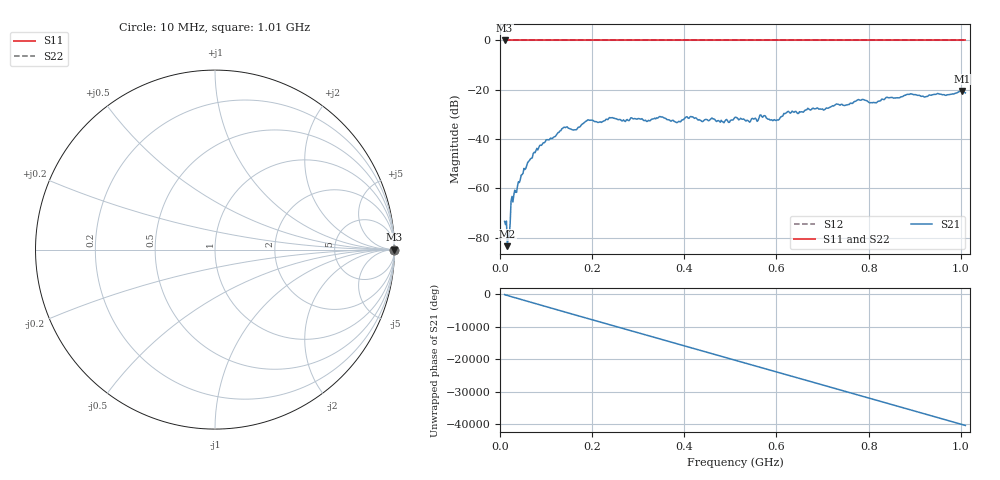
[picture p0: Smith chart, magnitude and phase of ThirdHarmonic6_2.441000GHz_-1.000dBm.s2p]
! 8/17/2025 4:17:53 AM
! C:\ANRITSUVNA\TEMP\TEMP.S2P
! CHANNEL.1
! TR.MEASUREMENT
! RAW.DATA
! RF.CORRECTION.OFF
! AVERAGING.OFF
! IF.BANDWIDTH: 5KHZ
! SWEEPTYPE:  FREQ.SWEEP(Linear)
! Reference Plane Port Info
! PORT:  PORT1  PORT2
! DISTANCE:  0  m  0  m
! TIME:  0  s  0  s
! PHASE.OFFSET:  0  deg.  0  deg.
! LOSS:  0  dB  0  dB
! REF.LOSS:  0  dB  0  dB
! REF.FREQ:  0  Hz  0  Hz
! Power Info
! POWER:  -20  dBm  -20  dBm
! EFF.POWER:  -20  dBm  -20  dBm
! SOURCE.ATTEN:  0  dB  0  dB
! TEST.ATTEN:  0  dB  0  dB
# GHZ S RI R 50.0
! FREQ.GHZ  S11RE  S11IM  S21RE  S21IM  S12RE  S12IM  S22RE  S22IM
!; PortSelection: Port_12
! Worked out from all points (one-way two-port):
!   501 points, 10 MHz to 1.01 GHz, reference 50 ohm
!   highest |S21| = -20.51 dB at 1.002 GHz (marker M1); lowest = -83.5 dB at 16 MHz (marker M2)
!   lowest |S11| = 0.0 dB at 10 MHz (marker M3)
!   |S11| at or under -10 dB: nowhere
!   |S22| runs from 0.0 to 0.0 dB; largest |S21 - S12| = 1.1
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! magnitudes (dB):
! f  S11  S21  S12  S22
! 10 MHz  0.0  -73.4  0.0  0.0
! 16 MHz  0.0  -83.5  0.0  0.0
! 20 MHz  0.0  -79.6  0.0  0.0
! 28 MHz  0.0  -65.6  0.0  0.0
! 50 MHz  0.0  -53.9  0.0  0.0
! 76 MHz  0.0  -45.6  0.0  0.0
! 138 MHz  0.0  -35.3  0.0  0.0
! 162 MHz  0.0  -36.3  0.0  0.0
! 178 MHz  0.0  -34.0  0.0  0.0
! 240 MHz  0.0  -31.4  0.0  0.0
! 322 MHz  0.0  -32.4  0.0  0.0
! 344 MHz  0.0  -31.2  0.0  0.0
! 384 MHz  0.0  -33.4  0.0  0.0
! 416 MHz  0.0  -31.0  0.0  0.0
! 482 MHz  0.0  -32.9  0.0  0.0
! 510 MHz  0.0  -31.2  0.0  0.0
! 602 MHz  0.0  -32.2  0.0  0.0
! 622 MHz  0.0  -29.3  0.0  0.0
! 678 MHz  0.0  -27.6  0.0  0.0
! 844 MHz  0.0  -23.3  0.0  0.0
! 1.002 GHz  0.0  -20.5  0.0  0.0
! 1.01 GHz  0.0  -21.3  0.0  0.0
